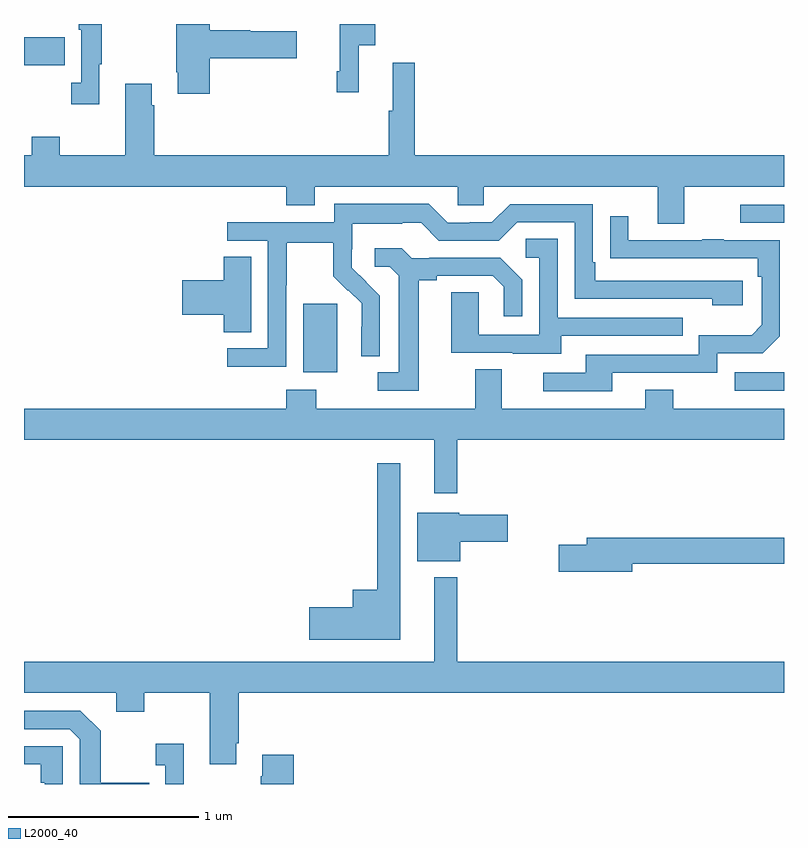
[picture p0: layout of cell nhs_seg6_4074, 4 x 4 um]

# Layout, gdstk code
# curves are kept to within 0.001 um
import gdstk
lib = gdstk.Library(unit=1e-6, precision=1e-09)
def R(c, l, rs):  # rectangles x0, y0, x1, y1
    for r in rs: c.add(gdstk.rectangle(r[:2], r[2:], *l))
def P(c, l, *ps):  # polygons
    for p in ps: c.add(gdstk.Polygon(p, *l))
L2000_40 = (2000, 40)

nhs_seg6_4074 = lib.new_cell('nhs_seg6_4074')
R(nhs_seg6_4074, L2000_40, [(354.741,971.571,355,971.667), (352.469,971.666,352.648,972.027), (354.771,972.453,355,972.549), (351,973.282,351.215,973.429)])
P(nhs_seg6_4074, L2000_40, [(351.397,973.289),(351.409,973.289),(351.409,973.5),(351.288,973.5),(351.288,973.469),(351.3,973.469),(351.3,973.19),(351.249,973.19),(351.249,973.077),(351.397,973.077)],
  [(351.977,973.319),(352.435,973.319),(352.435,973.461),(352.191,973.461),(352.191,973.466),(351.977,973.466),(351.977,973.5),(351.802,973.5),(351.802,973.246),(351.809,973.246),(351.809,973.134),(351.977,973.134)],
  [(352.763,973.388),(352.849,973.388),(352.849,973.5),(352.663,973.5),(352.663,973.252),(352.645,973.252),(352.645,973.14),(352.763,973.14)],
  [(354.475,972.644),(355,972.644),(355,972.808),(353.057,972.808),(353.057,973.297),(352.94,973.297),(352.94,973.044),(352.921,973.044),(352.921,972.808),(351.686,972.808),(351.686,973.073),(351.673,973.073),(351.673,973.186),(351.533,973.186),(351.533,972.808),(351.189,972.808),(351.189,972.907),(351.041,972.907),(351.041,972.808),(351,972.808),(351,972.644),(352.379,972.644),(352.379,972.545),(352.531,972.545),(352.531,972.644),(353.283,972.644),(353.283,972.546),(353.421,972.546),(353.421,972.644),(354.335,972.644),(354.335,972.45),(354.475,972.45)],
  [(352.38,972.124),(352.383,972.124),(352.383,972.348),(352.627,972.348),(352.627,972.173),(352.704,972.096),(352.707,972.099),(352.778,972.029),(352.778,971.906),(352.776,971.906),(352.776,971.752),(352.872,971.752),(352.872,972.07),(352.726,972.218),(352.726,972.315),(352.728,972.315),(352.728,972.449),(352.991,972.449),(352.991,972.453),(353.091,972.453),(353.184,972.36),(353.499,972.36),(353.595,972.456),(353.898,972.456),(353.898,972.054),(354.623,972.054),(354.623,972.02),(354.784,972.02),(354.784,972.15),(354.007,972.15),(354.007,972.247),(353.994,972.247),(353.994,972.552),(353.559,972.552),(353.463,972.456),(353.345,972.456),(353.345,972.453),(353.229,972.453),(353.129,972.553),(352.632,972.553),(352.632,972.456),(352.071,972.456),(352.071,972.36),(352.284,972.36),(352.284,971.793),(352.071,971.793),(352.071,971.695),(352.38,971.695)],
  [(354.097,971.664),(354.648,971.664),(354.648,971.766),(354.888,971.766),(354.978,971.856),(354.978,972.363),(354.683,972.363),(354.683,972.368),(354.571,972.368),(354.571,972.363),(354.181,972.363),(354.181,972.487),(354.085,972.487),(354.085,972.268),(354.862,972.267),(354.862,972.17),(354.882,972.17),(354.882,971.916),(354.829,971.863),(354.552,971.863),(354.552,971.76),(353.957,971.76),(353.957,971.664),(353.733,971.664),(353.733,971.568),(354.097,971.568)],
  [(353.827,971.859),(354.467,971.859),(354.467,971.955),(353.808,971.955),(353.808,972.371),(353.64,972.371),(353.64,972.27),(353.712,972.27),(353.712,971.865),(353.394,971.865),(353.394,972.089),(353.249,972.089),(353.249,971.769),(353.573,971.769),(353.573,971.765),(353.827,971.765)],
  [(353.077,972.152),(353.173,972.152),(353.173,972.174),(353.468,972.174),(353.525,972.117),(353.525,971.961),(353.622,971.961),(353.622,972.154),(353.506,972.27),(353.134,972.27),(353.134,972.267),(353.04,972.267),(352.988,972.319),(352.845,972.319),(352.845,972.222),(352.926,972.222),(352.973,972.175),(352.973,971.667),(352.863,971.667),(352.863,971.571),(353.077,971.571)],
  [(352.195,972.275),(352.052,972.275),(352.052,972.152),(351.834,972.152),(351.834,971.969),(352.052,971.969),(352.052,971.878),(352.195,971.878)],
  [(353.281,971.312),(355,971.312),(355,971.476),(354.417,971.476),(354.417,971.575),(354.269,971.575),(354.269,971.476),(353.515,971.476),(353.515,971.684),(353.375,971.684),(353.375,971.476),(352.539,971.476),(352.539,971.575),(352.379,971.575),(352.379,971.476),(351,971.476),(351,971.312),(353.159,971.312),(353.159,971.031),(353.281,971.031)],
  [(352.981,971.188),(352.86,971.188),(352.86,970.522),(352.73,970.522),(352.73,970.43),(352.5,970.43),(352.5,970.259),(352.981,970.259)],
  [(353.296,970.775),(353.545,970.775),(353.545,970.917),(353.292,970.917),(353.292,970.927),(353.069,970.927),(353.069,970.673),(353.296,970.673)],
  [(354.202,970.66),(355,970.66),(355,970.796),(353.963,970.796),(353.963,970.76),(353.814,970.76),(353.814,970.618),(354.202,970.618)],
  [(352.117,969.715),(352.13,969.715),(352.13,969.98),(355,969.98),(355,970.144),(353.281,970.144),(353.281,970.588),(353.159,970.588),(353.159,970.144),(351,970.144),(351,969.98),(351.485,969.98),(351.485,969.881),(351.633,969.881),(351.633,969.98),(351.977,969.98),(351.977,969.603),(352.117,969.603)],
  [(351.659,969.507),(351.403,969.507),(351.403,969.779),(351.297,969.885),(351,969.885),(351,969.789),(351.24,969.789),(351.294,969.735),(351.294,969.5),(351.659,969.5)],
  [(351.841,969.712),(351.693,969.712),(351.693,969.599),(351.744,969.599),(351.744,969.5),(351.841,969.5)],
  [(351.204,969.699),(351,969.699),(351,969.603),(351.088,969.603),(351.088,969.506),(351.108,969.506),(351.108,969.5),(351.204,969.5)],
  [(352.421,969.655),(352.253,969.655),(352.253,969.542),(352.246,969.542),(352.246,969.5),(352.421,969.5)])

lib.write_gds('nhs_seg6_4074.gds')
